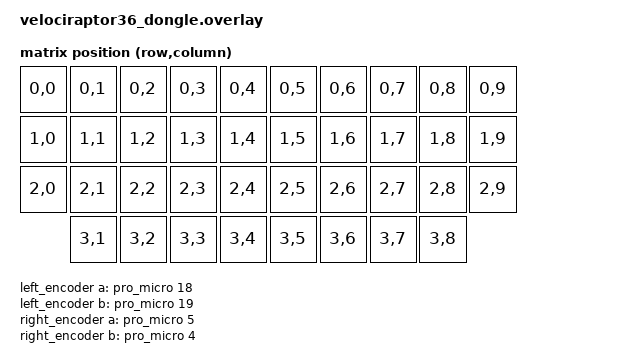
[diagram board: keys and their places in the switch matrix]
/*
 * Copyright (c) 2026
 *
 * SPDX-License-Identifier: MIT
 */

#include <dt-bindings/gpio/gpio.h>
#include <dt-bindings/zmk/matrix_transform.h>
#include "velociraptor36-layouts.dtsi"

&blue_led {
    status = "disabled";
};

/ {
    chosen {
        zmk,kscan = &dongle_kscan;
        zmk,physical-layout = &velociraptor36_layout;
    };

    default_transform: default_transform {
        compatible = "zmk,matrix-transform";
        columns = <10>;
        rows = <4>;
// | SW0  | SW1  | SW2  | SW3  | SW4  |   | SW5  | SW6  | SW7  | SW8  | SW9  |
// | SW10 | SW11 | SW12 | SW13 | SW14 |   | SW15 | SW16 | SW17 | SW18 | SW19 |
// | SW20 | SW21 | SW22 | SW23 | SW24 |   | SW25 | SW26 | SW27 | SW28 | SW29 |
//       | SW30 | SW31 | SW32 | ENC |   | SW34 | SW35 | SW36 | SW37 |
        map = <
RC(0,0) RC(0,1) RC(0,2) RC(0,3) RC(0,4)    RC(0,5) RC(0,6) RC(0,7) RC(0,8) RC(0,9)
RC(1,0) RC(1,1) RC(1,2) RC(1,3) RC(1,4)    RC(1,5) RC(1,6) RC(1,7) RC(1,8) RC(1,9)
RC(2,0) RC(2,1) RC(2,2) RC(2,3) RC(2,4)    RC(2,5) RC(2,6) RC(2,7) RC(2,8) RC(2,9)
        RC(3,1) RC(3,2) RC(3,3) RC(3,4)    RC(3,5) RC(3,6) RC(3,7) RC(3,8)
        >;
    };

    left_encoder: left_encoder {
        compatible = "alps,ec11";
        a-gpios = <&pro_micro 18 (GPIO_ACTIVE_HIGH | GPIO_PULL_UP)>;
        b-gpios = <&pro_micro 19 (GPIO_ACTIVE_HIGH | GPIO_PULL_UP)>;
        steps = <80>;
        status = "disabled";
    };

    right_encoder: right_encoder {
        compatible = "alps,ec11";
        a-gpios = <&pro_micro 5 (GPIO_ACTIVE_HIGH | GPIO_PULL_UP)>;
        b-gpios = <&pro_micro 4 (GPIO_ACTIVE_HIGH | GPIO_PULL_UP)>;
        steps = <80>;
        status = "disabled";
    };

    sensors: sensors {
        compatible = "zmk,keymap-sensors";
        sensors = <&left_encoder &right_encoder>;
        triggers-per-rotation = <20>;
    };

    dongle_kscan: dongle_kscan {
        compatible = "zmk,kscan-mock";
        columns = <10>;
        rows = <4>;
        events = <0>;
    };
};
